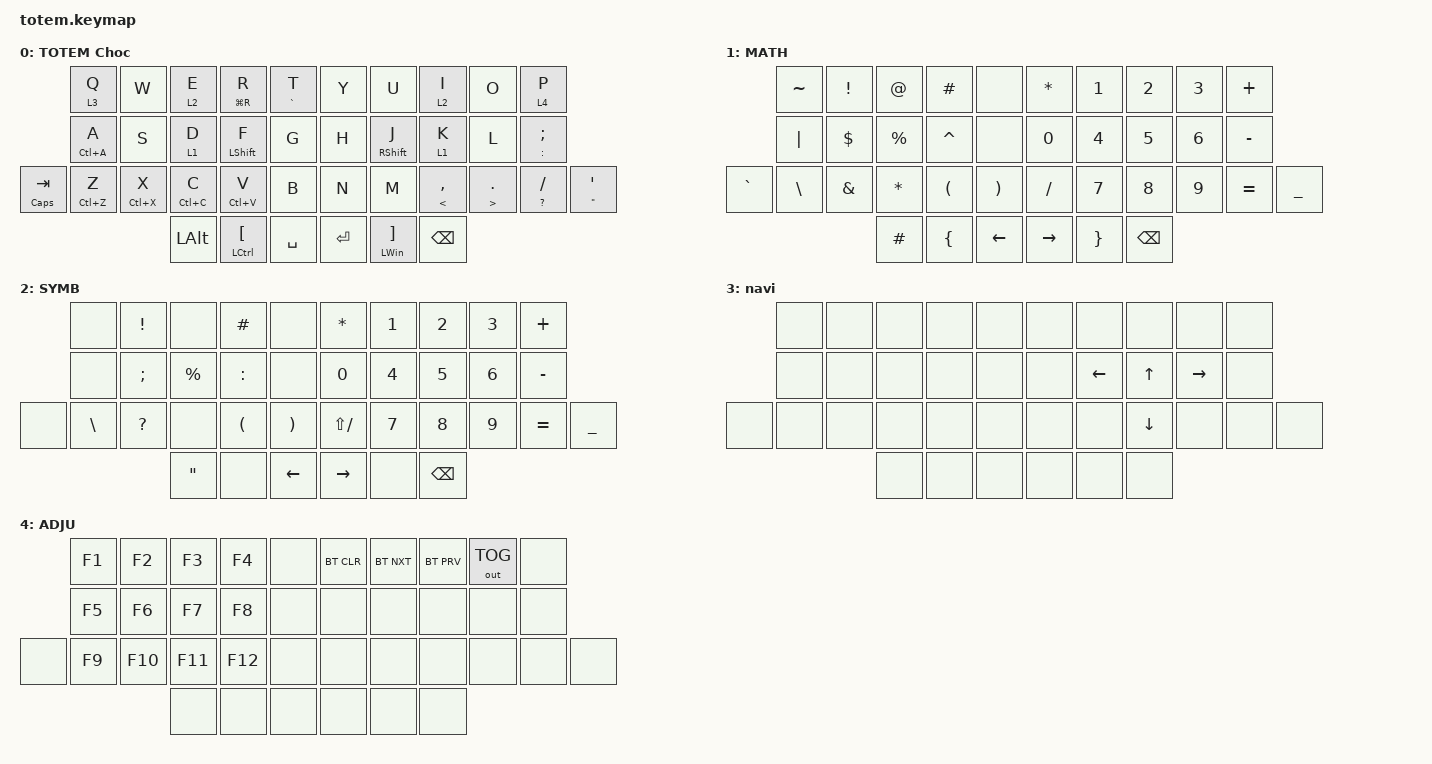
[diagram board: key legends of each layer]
//
//                                                        ▀▀▀▀▀     ▀▀▀▀▀          ▀▀█▀▀
//                                                        ▄▀▀▀▄  ▄  ▄▀▀▀▄  ▄  ▄▀▀▀▄  █  ▄▀▀▀▄
//                                                        █   █  █  █   █  █  █   █  █  █   █
//                                                         ▀▀▀   █   ▀▀▀   █   ▀▀▀   ▀   ▀▀▀
//                                                               █      ▄▄▄█▄▄▄    █   █  
//                                                               ▀      █  █  █     █▄█
//                                                             ▀▀▀▀▀    █  █  █      ▀
//                                                                      ▀  ▀  ▀
//
// ▄▄▄▄▄▄▄▄▄▄▄▄▄▄▄▄▄▄▄▄▄▄▄▄▄▄▄▄▄▄▄▄▄▄▄▄▄▄▄▄▄▄▄▄▄▄▄▄▄▄▄▄▄▄▄▄▄▄▄▄▄▄▄▄▄▄▄▄▄▄▄▄▄▄▄▄▄▄▄▄▄▄▄▄▄▄▄▄▄▄▄▄▄▄▄▄▄▄▄▄▄▄▄▄▄▄▄▄▄▄▄▄▄▄▄▄▄▄▄▄▄▄▄▄▄▄▄▄▄▄▄▄▄▄▄▄▄▄▄▄▄▄▄▄▄▄▄▄▄

#define BASE 0
#define MATH 1
#define SYMB 2
#define ADJU  3

#include <behaviors.dtsi>
#include <dt-bindings/zmk/bt.h>
#include <dt-bindings/zmk/keys.h>
#include <dt-bindings/zmk/outputs.h>

/ {
    combos {
        compatible = "zmk,combos";

        combo_esc {
            timeout-ms = <50>;
            key-positions = <0 1>;
            bindings = <&kp ESC>;
        };

        layer_0 {
            bindings = <&tog 0>;
            key-positions = <4 5>;
        };

        layer_1 {
            bindings = <&tog 1>;
            key-positions = <3 6>;
        };

        layer_2 {
            bindings = <&tog 2>;
            key-positions = <2 7>;
        };

        layer_3 {
            bindings = <&tog 3>;
            key-positions = <1 8>;
        };

        layer_4 {
            bindings = <&tog 4>;
            key-positions = <0 9>;
        };

        Ctrl+Win+Right {
            bindings = <&kp LS(LG(RIGHT))>;
            key-positions = <33 36>;
        };

        Language_Shift+Alt {
            bindings = <&kp LS(LEFT_ALT)>;
            key-positions = <34 35>;
        };

        Double_quotes {
            bindings = <&kp DOUBLE_QUOTES>;
            key-positions = <32 37>;
        };
    };

    behaviors {
        ss_hs_modmorph: ss_hs_modmorph {
            compatible = "zmk,behavior-mod-morph";
            label = "SS_HS_MODMORPH";
            bindings = <&kp M>, <&kp RIGHT_BRACKET>;

            #binding-cells = <0>;
            mods = <(MOD_LSFT|MOD_RSFT)>;
        };

        kh_hs_tapdance: kh_hs_tapdance {
            compatible = "zmk,behavior-tap-dance";
            label = "KH_HS_TAPDANCE";
            #binding-cells = <0>;
            tapping-term-ms = <200>;
            bindings = <&kp LEFT_BRACKET>, <&kp RIGHT_BRACKET>;
        };

        hrm: hrm {
            compatible = "zmk,behavior-hold-tap";
            #binding-cells = <2>;
            flavor = "tap-preferred";
            tapping-term-ms = <250>;
            quick-tap-ms = <200>;
            require-prior-idle-ms = <250>;
            bindings = <&kp>, <&kp>;
        };
    };

    keymap {
        compatible = "zmk,keymap";

        The_Divine_Keyboard {
            label = "TOTEM Choc";
            bindings = <
                   &lt 3 Q       &kp W         &lt 2 E       &hrm LG(R) R            &hrm GRAVE T    &kp Y      &kp U               &lt 2 I               &kp O                  &lt 4 P
                   &hrm LC(A) A  &kp S         &lt 1 D       &hrm LEFT_SHIFT F       &kp G           &kp H      &hrm RIGHT_SHIFT J  &lt 1 K               &kp L                  &hrm COLON SEMICOLON
&hrm CAPSLOCK TAB  &hrm LC(Z) Z  &hrm LC(X) X  &hrm LC(C) C  &hrm LC(V) V            &kp B           &kp N      &kp M               &hrm LESS_THAN COMMA  &hrm GREATER_THAN DOT  &hrm QUESTION FSLH    &hrm DOUBLE_QUOTES SQT
                                               &kp LEFT_ALT  &hrm LEFT_CONTROL LBKT  &kp SPACE       &kp ENTER  &hrm LEFT_WIN RBKT  &kp BACKSPACE
            >;
        };

        math {
            label = "MATH";
            bindings = <
           &kp TILDE      &kp EXCLAMATION  &kp AT        &kp HASH              &none                    &kp ASTERISK  &kp N1           &kp N2         &kp N3  &kp PLUS
           &kp PIPE       &kp DOLLAR       &kp PERCENT   &kp CARET             &none                    &kp N0        &kp N4           &kp N5         &kp N6  &kp MINUS
&kp GRAVE  &kp BACKSLASH  &kp AMPERSAND    &kp ASTERISK  &kp LEFT_PARENTHESIS  &kp RIGHT_PARENTHESIS    &kp SLASH     &kp N7           &kp N8         &kp N9  &kp EQUAL  &kp UNDERSCORE
                                           &kp HASH      &kp LEFT_BRACE        &kp LEFT                 &kp RIGHT     &kp RIGHT_BRACE  &kp BACKSPACE
            >;
        };

        symb {
            label = "SYMB";
            bindings = <
       &none          &kp EXCLAMATION  &none              &kp HASH              &none                    &kp ASTERISK   &kp N1  &kp N2         &kp N3  &kp PLUS
       &none          &kp SEMICOLON    &kp PERCENT        &kp COLON             &none                    &kp N0         &kp N4  &kp N5         &kp N6  &kp MINUS
&none  &kp BACKSLASH  &kp QUESTION     &none              &kp LEFT_PARENTHESIS  &kp RIGHT_PARENTHESIS    &kp LS(SLASH)  &kp N7  &kp N8         &kp N9  &kp EQUAL  &kp UNDERSCORE
                                       &kp DOUBLE_QUOTES  &none                 &kp LEFT                 &kp RIGHT      &none   &kp BACKSPACE
            >;
        };

        navi {
            bindings = <
       &none  &none  &none  &none  &none    &none  &none     &none     &none      &none
       &none  &none  &none  &none  &none    &none  &kp LEFT  &kp UP    &kp RIGHT  &none
&none  &none  &none  &none  &none  &none    &none  &none     &kp DOWN  &none      &none  &none
                     &none  &none  &none    &none  &none     &none
            >;
        };

        func {
            label = "ADJU";
            bindings = <
       &kp F1  &kp F2   &kp F3   &kp F4   &none    &bt BT_CLR  &bt BT_NXT  &bt BT_PRV  &out OUT_TOG  &none
       &kp F5  &kp F6   &kp F7   &kp F8   &none    &none       &none       &none       &none         &none
&none  &kp F9  &kp F10  &kp F11  &kp F12  &none    &none       &none       &none       &none         &none  &none
                        &none    &none    &none    &none       &none       &none
            >;
        };
    };
};
